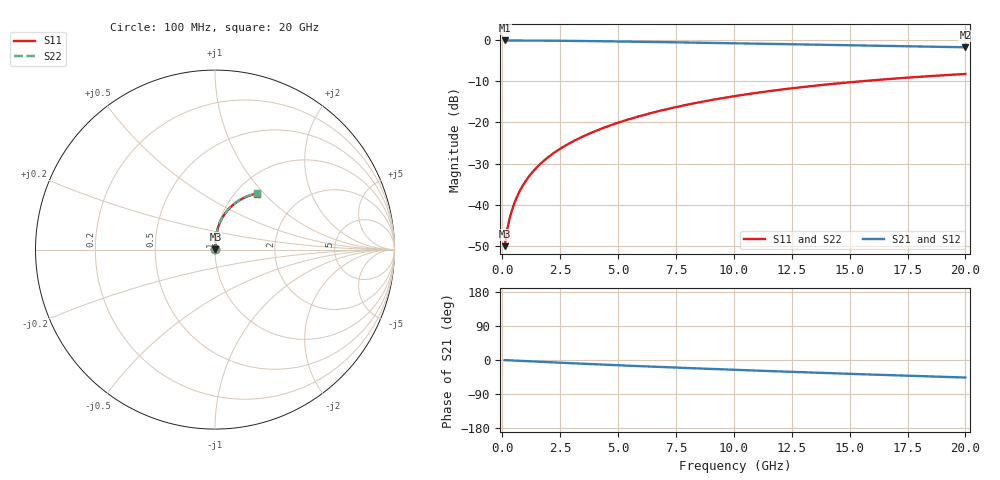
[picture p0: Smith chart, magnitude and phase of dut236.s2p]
! Touchstone file exported from HFSS 2024.1.0
!  File:  C:/UserFiles/LocalFiles/RDL_TSV_Batchsim/temp_RDL_top_236_1778688352.aedt
!  Generated:  12:07:59 AM May 14, 2026
!  Design:  RDL_top
!  Project:  temp_RDL_top_236_1778688352
!  Setup:  Setup1
!  Solution:  Sweep
! Variables:
!  dtsv = 10.80580581um
!  hbump = 3um
!  htsv = 63.25um
!  ldown = 100um
!  lrdl = 674.31um
!  p = 40
!  p1 = 54.25um
!  rhole = 1um
!  t = 450um
!  tdown = 3.915915916um
!  trdl = 4.72um
!  wdown = 15.38538539um
!  wrdl = 23.76um
# GHz S MA R 50.000000
! Terminal data exported
! Port[1] = Box2_T1
! Port[2] = Box2_T2
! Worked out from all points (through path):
!   200 points, 100 MHz to 20 GHz, reference 50 ohm
!   highest |S21| = -0.02 dB at 100 MHz (marker M1); lowest = -1.7 dB at 20 GHz (marker M2)
!   group delay of S21, straight-line fit = 6.36 ps
!   lowest |S11| = -50.1 dB at 100 MHz (marker M3), VSWR 1.01, Z = 50.2 + j0.209 ohm
!   |S11| at or under -10 dB: start of sweep to 15.43 GHz
!   |S22| runs from -50.1 to -8.2 dB; largest |S21 - S12| = 5.3e-15
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0.1  0.003114 42.0  0.9977 -0.3  0.9977 -0.3  0.003114 42.0
! Gamma 0 0 0 0
! Port Impedance 50 0 50 0
0.2  0.004742 58.6  0.9975 -0.6  0.9975 -0.6  0.004742 58.6
0.3  0.006471 66.3  0.9973 -0.9  0.9973 -0.9  0.006471 66.3
0.4  0.008228 70.9  0.9971 -1.2  0.9971 -1.2  0.008228 70.9
0.5  0.01001 74.0  0.9969 -1.5  0.9969 -1.5  0.01001 74.0
0.6  0.01181 76.2  0.9968 -1.8  0.9968 -1.8  0.01181 76.2
0.8  0.01546 79.2  0.9963 -2.3  0.9963 -2.3  0.01546 79.2
1.1  0.02102 81.7  0.9956 -3.2  0.9956 -3.2  0.02102 81.8
1.5  0.02855 83.5  0.9942 -4.3  0.9942 -4.3  0.02856 83.5
1.8  0.03427 84.2  0.9929 -5.2  0.9929 -5.2  0.03428 84.3
2.1  0.04005 84.7  0.9915 -6.0  0.9915 -6.0  0.04006 84.7
2.7  0.05179 85.1  0.988 -7.7  0.988 -7.7  0.0518 85.2
3.5  0.06785 85.0  0.9825 -9.9  0.9825 -9.9  0.06789 85.1
4.2  0.0823 84.6  0.977 -11.8  0.977 -11.8  0.08235 84.7
5  0.09922 83.8  0.9702 -13.8  0.9702 -13.8  0.0993 83.8
6.8  0.1384 81.0  0.9535 -18.3  0.9535 -18.3  0.1386 81.1
8.4  0.1738 77.9  0.9379 -22.1  0.9379 -22.1  0.174 78.0
10.1  0.2108 74.2  0.921 -26.0  0.921 -26.0  0.2111 74.3
11.7  0.2444 70.7  0.905 -29.6  0.905 -29.6  0.2448 70.8
13.4  0.2784 66.9  0.8881 -33.2  0.8881 -33.2  0.2789 67.0
16.7  0.3383 59.8  0.8555 -39.9  0.8555 -39.9  0.3389 59.9
20  0.3897 53.1  0.8238 -46.3  0.8238 -46.3  0.3905 53.3
